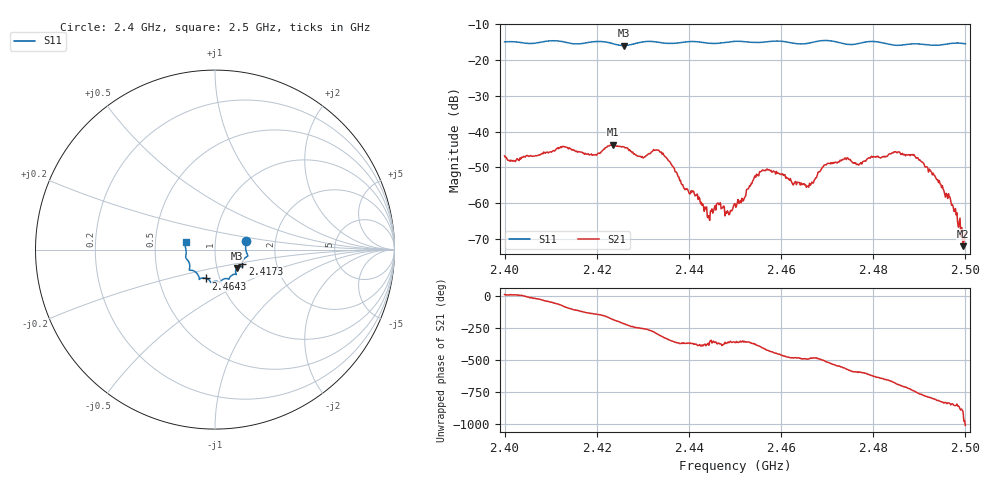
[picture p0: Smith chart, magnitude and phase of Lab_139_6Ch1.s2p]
# Hz S RI R 50
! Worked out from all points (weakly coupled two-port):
!   601 points, 2.4 GHz to 2.5 GHz, reference 50 ohm
!   highest |S21| = -43.65 dB at 2.4235 GHz (marker M1); lowest = -72.1 dB at 2.4995 GHz (marker M2)
!   lowest |S11| = -15.9 dB at 2.4258 GHz (marker M3), VSWR 1.38, Z = 62.3 - j13.3 ohm
!   |S11| at or under -10 dB: start of sweep to end of sweep
!   S12 and S22 are empty: the file has one direction only
!   S11 on the Smith chart (normalised r, x): 2.4 GHz: 1.41, +0.14; 2.4173 GHz: 1.34, -0.23; 2.4643 GHz: 0.86, -0.28; 2.5 GHz: 0.72, +0.06
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2.4e9  0.1733 0.0488  0.00444 0.00111  0 0  0 0
2.412667e9  0.1765 -0.0398  0.00146 -0.00598  0 0  0 0
2.416667e9  0.1528 -0.0746  -0.00247 -0.00452  0 0  0 0
2.417333e9  0.152 -0.0821  -0.0027 -0.00396  0 0  0 0
2.4235e9  0.1413 -0.0944  -0.00656 0.000239  0 0  0 0
2.425833e9  0.1217 -0.1037  -0.00503 0.00348  0 0  0 0
2.429667e9  0.1166 -0.1351  -0.00151 0.0041  0 0  0 0
2.433333e9  0.1129 -0.1374  0.00269 0.00479  0 0  0 0
2.444167e9  0.062 -0.161  0.000615 -9.04e-05  0 0  0 0
2.446333e9  0.0449 -0.1661  0.000995 -9.35e-05  0 0  0 0
2.448333e9  0.0335 -0.1752  0.000777 -4.75e-05  0 0  0 0
2.45e9  0.0287 -0.1809  0.000979 -2.11e-05  0 0  0 0
2.455833e9  -0.00538 -0.1776  0.00208 -0.00189  0 0  0 0
2.464333e9  -0.0499 -0.1607  -0.00123 -0.00146  0 0  0 0
2.466667e9  -0.076 -0.1592  -0.00113 -0.0016  0 0  0 0
2.469833e9  -0.0885 -0.1664  -0.00309 -0.00148  0 0  0 0
2.483333e9  -0.1404 -0.0899  0.00219 0.00424  0 0  0 0
2.488667e9  -0.1622 -0.0469  0.00441 -0.00147  0 0  0 0
2.492667e9  -0.1608 -0.0183  0.000582 -0.00262  0 0  0 0
2.496833e9  -0.1691 0.0259  -0.000677 -0.000803  0 0  0 0
2.4995e9  -0.1665 0.0397  -0.000247 2.85e-05  0 0  0 0
2.5e9  -0.1639 0.0426  0.000142 0.000356  0 0  0 0
